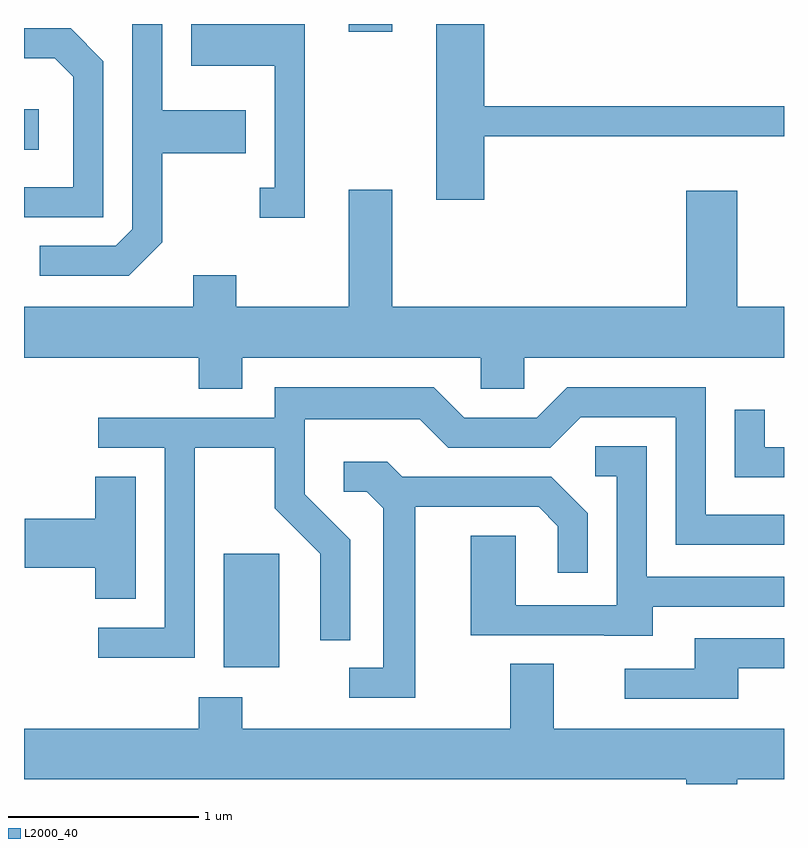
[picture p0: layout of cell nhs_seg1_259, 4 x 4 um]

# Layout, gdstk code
import gdstk
lib = gdstk.Library(unit=1e-6, precision=1e-09)
def R(c, l, rs):  # rectangles x0, y0, x1, y1
    for r in rs: c.add(gdstk.rectangle(r[:2], r[2:], *l))
def P(c, l, *ps):  # polygons
    for p in ps: c.add(gdstk.Polygon(p, *l))
L2000_40 = (2000, 40)

nhs_seg1_259 = lib.new_cell('nhs_seg1_259')
R(nhs_seg1_259, L2000_40, [(192.661,962.326,192.954,962.924), (191.611,965.051,191.689,965.264), (193.321,965.671,193.549,965.712)])
P(nhs_seg1_259, L2000_40, [(194.034,965.121),(195.611,965.121),(195.611,965.279),(194.034,965.279),(194.034,965.712),(193.781,965.712),(193.781,964.786),(194.034,964.786)],
  [(192.339,964.564),(192.339,965.031),(192.779,965.031),(192.779,965.259),(192.339,965.259),(192.339,965.712),(192.181,965.712),(192.181,964.632),(192.094,964.544),(191.693,964.544),(191.693,964.386),(192.162,964.386)],
  [(193.089,965.712),(192.491,965.712),(192.491,965.491),(192.931,965.491),(192.931,964.849),(192.853,964.849),(192.853,964.691),(193.089,964.691)],
  [(192.029,965.517),(191.857,965.689),(191.611,965.689),(191.611,965.531),(191.774,965.531),(191.871,965.434),(191.871,964.854),(191.611,964.854),(191.611,964.696),(192.029,964.696)],
  [(192.759,963.956),(194.016,963.956),(194.016,963.791),(194.244,963.791),(194.244,963.956),(195.611,963.956),(195.611,964.224),(195.364,964.224),(195.364,964.834),(195.096,964.834),(195.096,964.224),(193.549,964.224),(193.549,964.839),(193.321,964.839),(193.321,964.224),(192.729,964.224),(192.729,964.389),(192.501,964.389),(192.501,964.224),(191.611,964.224),(191.611,963.956),(192.531,963.956),(192.531,963.791),(192.759,963.791)],
  [(192.509,963.481),(192.931,963.481),(192.931,963.164),(193.171,962.924),(193.171,962.468),(193.329,962.468),(193.329,962.997),(193.089,963.237),(193.089,963.631),(193.694,963.631),(193.844,963.481),(194.382,963.481),(194.542,963.641),(195.041,963.641),(195.041,962.971),(195.611,962.971),(195.611,963.129),(195.199,963.129),(195.199,963.799),(194.469,963.799),(194.309,963.639),(193.927,963.639),(193.767,963.799),(192.931,963.799),(192.931,963.639),(192.003,963.639),(192.003,963.481),(192.351,963.481),(192.351,962.534),(192.003,962.534),(192.003,962.376),(192.509,962.376)],
  [(195.611,963.484),(195.509,963.484),(195.509,963.683),(195.351,963.683),(195.351,963.326),(195.611,963.326)],
  [(194.919,962.646),(195.611,962.646),(195.611,962.804),(194.889,962.804),(194.889,963.489),(194.618,963.489),(194.618,963.331),(194.731,963.331),(194.731,962.654),(194.199,962.654),(194.199,963.019),(193.961,963.019),(193.961,962.496),(194.665,962.496),(194.665,962.491),(194.919,962.491)],
  [(193.669,963.171),(194.319,963.171),(194.421,963.069),(194.421,962.823),(194.579,962.823),(194.579,963.137),(194.387,963.329),(193.602,963.329),(193.522,963.409),(193.293,963.409),(193.293,963.251),(193.414,963.251),(193.501,963.164),(193.501,962.324),(193.323,962.324),(193.323,962.166),(193.669,962.166)],
  [(192.199,963.329),(191.986,963.329),(191.986,963.109),(191.616,963.109),(191.616,962.851),(191.986,962.851),(191.986,962.686),(192.199,962.686)],
  [(195.369,962.321),(195.611,962.321),(195.611,962.479),(195.141,962.479),(195.141,962.319),(194.773,962.319),(194.773,962.161),(195.369,962.161)],
  [(195.364,961.736),(195.611,961.736),(195.611,962.004),(194.399,962.004),(194.399,962.344),(194.171,962.344),(194.171,962.004),(192.759,962.004),(192.759,962.169),(192.531,962.169),(192.531,962.004),(191.611,962.004),(191.611,961.736),(195.096,961.736),(195.096,961.712),(195.364,961.712)])

lib.write_gds('nhs_seg1_259.gds')
